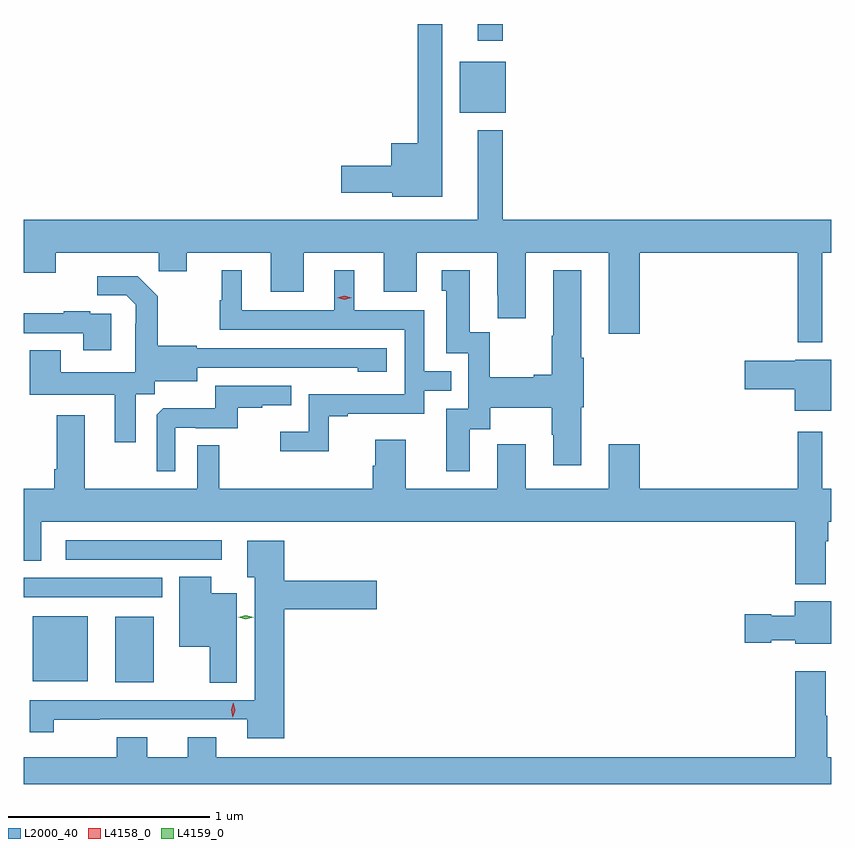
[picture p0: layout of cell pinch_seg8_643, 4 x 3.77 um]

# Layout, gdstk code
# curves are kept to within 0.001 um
import gdstk
lib = gdstk.Library(unit=1e-6, precision=1e-09)
def R(c, l, rs):  # rectangles x0, y0, x1, y1
    for r in rs: c.add(gdstk.rectangle(r[:2], r[2:], *l))
def P(c, l, *ps):  # polygons
    for p in ps: c.add(gdstk.Polygon(p, *l))
L2000_40 = (2000, 40)
L4158_0 = (4158, 0)
L4159_0 = (4159, 0)

pinch_seg8_643 = lib.new_cell('pinch_seg8_643')
R(pinch_seg8_643, L2000_40, [(268.334,1082.405,268.525,1082.728), (267.926,1082.408,268.198,1082.731), (267.881,1082.826,268.567,1082.922), (268.089,1083.012,268.861,1083.108), (270.041,1085.225,270.268,1085.479), (270.131,1085.583,270.253,1085.666)])
P(pinch_seg8_643, L2000_40, [(269.953,1085.666),(269.832,1085.666),(269.832,1085.074),(269.702,1085.074),(269.702,1084.964),(269.454,1084.964),(269.454,1084.829),(269.706,1084.829),(269.706,1084.811),(269.953,1084.811)],
  [(270.227,1084.321),(270.23,1084.321),(270.23,1084.209),(270.367,1084.209),(270.367,1084.532),(270.779,1084.532),(270.779,1084.131),(270.932,1084.131),(270.932,1084.532),(271.716,1084.532),(271.716,1084.088),(271.837,1084.088),(271.837,1084.532),(271.881,1084.532),(271.881,1084.696),(270.253,1084.696),(270.253,1085.14),(270.131,1085.14),(270.131,1084.696),(267.881,1084.696),(267.881,1084.433),(268.039,1084.433),(268.039,1084.532),(268.549,1084.532),(268.549,1084.442),(268.687,1084.442),(268.687,1084.532),(269.105,1084.532),(269.105,1084.338),(269.269,1084.338),(269.269,1084.532),(269.663,1084.532),(269.663,1084.338),(269.827,1084.338),(269.827,1084.532),(270.227,1084.532)],
  [(270.091,1083.658),(270.193,1083.658),(270.193,1083.764),(270.496,1083.764),(270.496,1083.63),(270.503,1083.63),(270.503,1083.48),(270.643,1083.48),(270.643,1083.768),(270.656,1083.768),(270.656,1084.012),(270.643,1084.012),(270.643,1084.447),(270.503,1084.447),(270.503,1084.121),(270.496,1084.121),(270.496,1083.929),(270.407,1083.929),(270.407,1083.916),(270.189,1083.916),(270.189,1084.139),(270.091,1084.139),(270.091,1084.447),(269.951,1084.447),(269.951,1084.344),(269.975,1084.344),(269.975,1084.035),(270.084,1084.035),(270.084,1083.759),(269.975,1083.759),(269.975,1083.45),(270.091,1083.45)],
  [(269.391,1083.723),(269.485,1083.723),(269.485,1083.735),(269.865,1083.735),(269.865,1083.849),(269.999,1083.849),(269.999,1083.945),(269.865,1083.945),(269.865,1084.248),(269.518,1084.248),(269.518,1084.447),(269.42,1084.447),(269.42,1084.248),(268.96,1084.248),(268.96,1084.447),(268.862,1084.447),(268.862,1084.296),(268.851,1084.296),(268.851,1084.152),(269.769,1084.152),(269.769,1083.831),(269.292,1083.831),(269.292,1083.646),(269.151,1083.646),(269.151,1083.548),(269.391,1083.548)],
  [(268.435,1083.832),(268.53,1083.832),(268.53,1083.896),(268.741,1083.896),(268.741,1083.963),(269.535,1083.962),(269.535,1083.944),(269.68,1083.944),(269.68,1084.059),(268.737,1084.059),(268.737,1084.072),(268.545,1084.072),(268.545,1084.317),(268.445,1084.417),(268.245,1084.417),(268.245,1084.323),(268.389,1084.323),(268.436,1084.276),(268.436,1084.181),(268.434,1084.181),(268.434,1083.94),(268.063,1083.94),(268.063,1084.049),(267.911,1084.049),(267.911,1083.83),(268.331,1083.83),(268.331,1083.594),(268.435,1083.594)],
  [(268.315,1084.23),(268.211,1084.23),(268.211,1084.243),(268.079,1084.243),(268.079,1084.232),(267.881,1084.232),(267.881,1084.134),(268.175,1084.134),(268.175,1084.05),(268.315,1084.05)],
  [(271.881,1084.003),(271.704,1084.003),(271.704,1083.998),(271.452,1083.998),(271.452,1083.856),(271.7,1083.856),(271.7,1083.749),(271.881,1083.749)],
  [(268.632,1083.666),(268.732,1083.666),(268.732,1083.663),(268.94,1083.663),(268.94,1083.765),(269.063,1083.765),(269.063,1083.776),(269.207,1083.776),(269.207,1083.873),(268.83,1083.873),(268.83,1083.761),(268.571,1083.761),(268.539,1083.729),(268.539,1083.449),(268.632,1083.449)],
  [(271.855,1083.104),(271.868,1083.104),(271.868,1083.2),(271.881,1083.2),(271.881,1083.364),(271.837,1083.364),(271.837,1083.646),(271.716,1083.646),(271.716,1083.364),(270.932,1083.364),(270.932,1083.583),(270.779,1083.583),(270.779,1083.364),(270.367,1083.364),(270.367,1083.583),(270.227,1083.583),(270.227,1083.364),(269.773,1083.364),(269.773,1083.607),(269.621,1083.607),(269.621,1083.477),(269.609,1083.477),(269.609,1083.364),(268.849,1083.364),(268.849,1083.578),(268.74,1083.578),(268.74,1083.364),(268.183,1083.364),(268.183,1083.727),(268.043,1083.727),(268.043,1083.46),(268.031,1083.46),(268.031,1083.364),(267.881,1083.364),(267.881,1083.007),(267.967,1083.007),(267.967,1083.2),(271.703,1083.2),(271.703,1082.891),(271.855,1082.891)],
  [(269.171,1082.765),(269.629,1082.765),(269.629,1082.907),(269.171,1082.907),(269.171,1083.106),(268.988,1083.106),(268.988,1082.924),(269.024,1082.924),(269.024,1082.316),(267.911,1082.316),(267.911,1082.157),(268.029,1082.157),(268.029,1082.219),(268.256,1082.219),(268.256,1082.22),(268.988,1082.22),(268.988,1082.126),(269.171,1082.126)],
  [(268.936,1082.845),(268.81,1082.845),(268.81,1082.927),(268.652,1082.927),(268.652,1082.579),(268.802,1082.579),(268.802,1082.401),(268.936,1082.401)],
  [(271.881,1082.806),(271.7,1082.806),(271.7,1082.734),(271.584,1082.734),(271.584,1082.742),(271.452,1082.742),(271.452,1082.6),(271.584,1082.6),(271.584,1082.612),(271.704,1082.612),(271.704,1082.594),(271.881,1082.594)],
  [(271.881,1082.032),(271.863,1082.032),(271.863,1082.237),(271.855,1082.237),(271.855,1082.458),(271.703,1082.458),(271.703,1082.032),(268.834,1082.032),(268.834,1082.131),(268.694,1082.131),(268.694,1082.032),(268.492,1082.032),(268.492,1082.131),(268.34,1082.131),(268.34,1082.032),(267.881,1082.032),(267.881,1081.9),(271.881,1081.9)])
P(pinch_seg8_643, L4158_0, [(269.469,1084.299),(269.433,1084.309),(269.433,1084.309),(269.433,1084.309),(269.469,1084.319),(269.505,1084.309),(269.505,1084.309),(269.505,1084.309)],
  [(268.917,1082.231),(268.917,1082.231),(268.908,1082.267),(268.918,1082.302),(268.918,1082.303),(268.918,1082.302),(268.928,1082.266),(268.917,1082.231)])
P(pinch_seg8_643, L4159_0, [(268.98,1082.717),(268.942,1082.727),(268.942,1082.727),(268.942,1082.727),(268.98,1082.737),(269.019,1082.727),(269.019,1082.727),(269.019,1082.727)])

lib.write_gds('pinch_seg8_643.gds')
